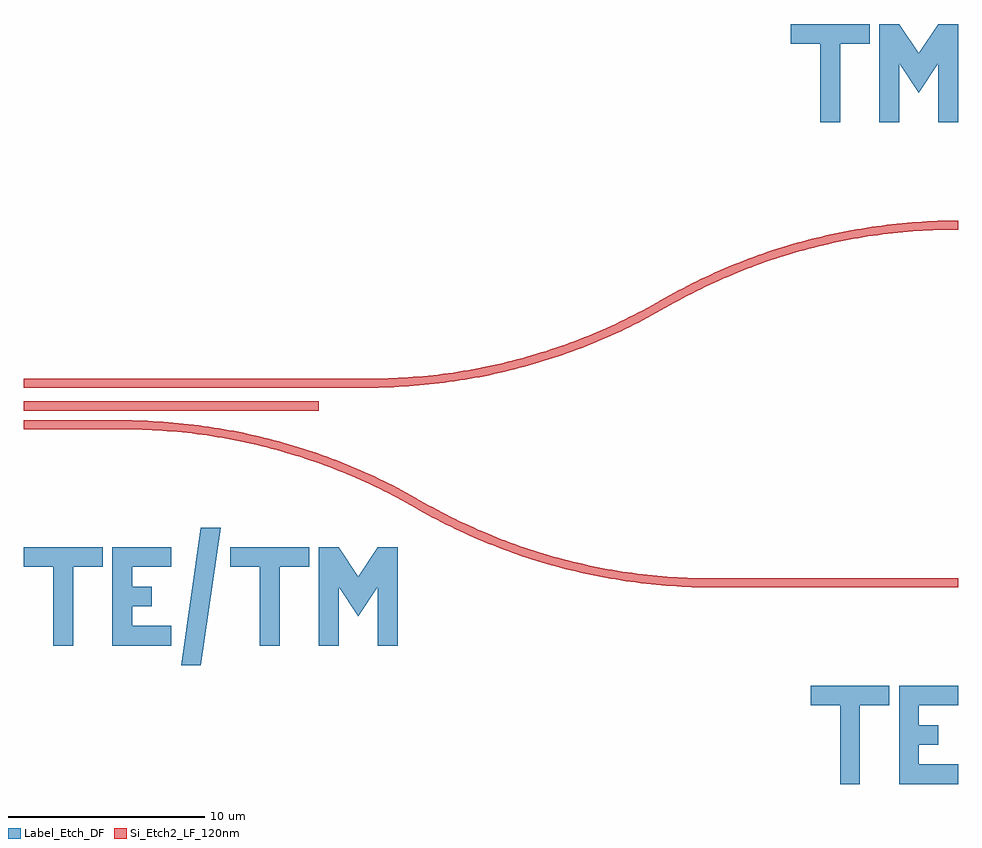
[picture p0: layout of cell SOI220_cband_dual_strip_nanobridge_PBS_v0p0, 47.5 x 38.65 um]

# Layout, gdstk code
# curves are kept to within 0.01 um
import gdstk
lib = gdstk.Library(unit=1e-6, precision=1e-09)
def R(c, l, rs):  # rectangles x0, y0, x1, y1
    for r in rs: c.add(gdstk.rectangle(r[:2], r[2:], *l))
def P(c, l, *ps):  # polygons
    for p in ps: c.add(gdstk.Polygon(p, *l))
Si_Etch2_LF_120nm = (3, 0)
Label_Etch_DF = (100, 0)

soi220_cband_dual_strip_ = lib.new_cell('SOI220_cband_dual_strip_nanobridge_PBS_v0p0')
R(soi220_cband_dual_strip_, Si_Etch2_LF_120nm, [(0,0.725,15,1.195)])
P(soi220_cband_dual_strip_, Si_Etch2_LF_120nm, [(35,-8.263),(33.962,-8.246),(32.926,-8.192),(31.892,-8.103),(30.605,-7.942),(29.581,-7.774),(28.31,-7.514),(27.052,-7.2),(26.056,-6.91),(25.315,-6.67),(24.338,-6.321),(23.373,-5.938),(22.423,-5.522),(21.719,-5.189),(21.024,-4.838),(19.219,-3.839),(18.312,-3.367),(17.39,-2.925),(16.453,-2.516),(15.264,-2.05),(14.298,-1.714),(13.076,-1.341),(12.087,-1.081),(10.84,-0.803),(9.582,-0.58),(8.316,-0.41),(7.043,-0.295),(6.277,-0.252),(5.256,-0.226),(0,-0.225),(0,0.225),(5.519,0.221),(6.556,0.185),(7.333,0.135),(8.623,0.007),(9.908,-0.176),(11.183,-0.414),(12.446,-0.707),(13.447,-0.979),(14.685,-1.369),(15.662,-1.718),(16.866,-2.201),(17.813,-2.625),(18.745,-3.081),(19.434,-3.444),(21.006,-4.32),(21.917,-4.785),(23.076,-5.322),(24.258,-5.808),(24.977,-6.076),(25.702,-6.324),(27.17,-6.766),(28.66,-7.131),(29.914,-7.376),(30.924,-7.533),(31.939,-7.656),(33.212,-7.76),(34.233,-7.804),(47.5,-7.813),(47.5,-8.263)],
  [(0,1.895),(0,2.345),(18.011,2.349),(19.288,2.399),(20.561,2.503),(21.576,2.625),(22.838,2.827),(24.09,3.083),(25.576,3.461),(27.041,3.915),(28.48,4.443),(29.657,4.94),(30.583,5.373),(31.719,5.959),(33.524,6.958),(34.219,7.309),(34.923,7.642),(35.873,8.058),(36.838,8.441),(37.815,8.79),(38.556,9.03),(39.552,9.32),(40.81,9.634),(42.081,9.894),(43.105,10.062),(44.392,10.223),(45.426,10.312),(46.462,10.366),(47.5,10.383),(47.5,9.933),(46.478,9.916),(45.202,9.845),(43.931,9.719),(42.918,9.579),(41.66,9.355),(40.661,9.137),(39.67,8.886),(38.445,8.523),(37.718,8.281),(36.758,7.928),(35.811,7.543),(35.11,7.233),(34.188,6.792),(33.506,6.44),(31.934,5.564),(31.013,5.084),(29.841,4.529),(28.646,4.025),(27.919,3.747),(27.185,3.489),(25.698,3.028),(24.19,2.645),(23.428,2.482),(22.663,2.339),(21.381,2.145),(20.35,2.03),(19.056,1.935),(18.019,1.899)])
P(soi220_cband_dual_strip_, Label_Etch_DF, [(41.5,-18.263),(41.5,-14.263),(40,-14.263),(40,-13.263),(44,-13.263),(44,-14.263),(42.5,-14.263),(42.5,-18.263)],
  [(44.5,-18.263),(44.5,-13.263),(47.5,-13.263),(47.5,-14.263),(45.5,-14.263),(45.5,-15.263),(46.5,-15.263),(46.5,-16.263),(45.5,-16.263),(45.5,-17.263),(47.5,-17.263),(47.5,-18.263)],
  [(1.5,-11.225),(1.5,-7.225),(0,-7.225),(0,-6.225),(4,-6.225),(4,-7.225),(2.5,-7.225),(2.5,-11.225)],
  [(4.5,-11.225),(4.5,-6.225),(7.5,-6.225),(7.5,-7.225),(5.5,-7.225),(5.5,-8.225),(6.5,-8.225),(6.5,-9.225),(5.5,-9.225),(5.5,-10.225),(7.5,-10.225),(7.5,-11.225)],
  [(12,-11.225),(12,-7.225),(10.5,-7.225),(10.5,-6.225),(14.5,-6.225),(14.5,-7.225),(13,-7.225),(13,-11.225)],
  [(15,-11.225),(15,-6.225),(16,-6.225),(17,-7.725),(18,-6.225),(19,-6.225),(19,-11.225),(18,-11.225),(18,-8.225),(17,-9.725),(16,-8.225),(16,-11.225)],
  [(8,-12.225),(9,-5.225),(10,-5.225),(9,-12.225)],
  [(40.5,15.383),(40.5,19.383),(39,19.383),(39,20.383),(43,20.383),(43,19.383),(41.5,19.383),(41.5,15.383)],
  [(43.5,15.383),(43.5,20.383),(44.5,20.383),(45.5,18.883),(46.5,20.383),(47.5,20.383),(47.5,15.383),(46.5,15.383),(46.5,18.383),(45.5,16.883),(44.5,18.383),(44.5,15.383)])

lib.write_gds('SOI220_cband_dual_strip_nanobridge_PBS_v0p0.gds')
